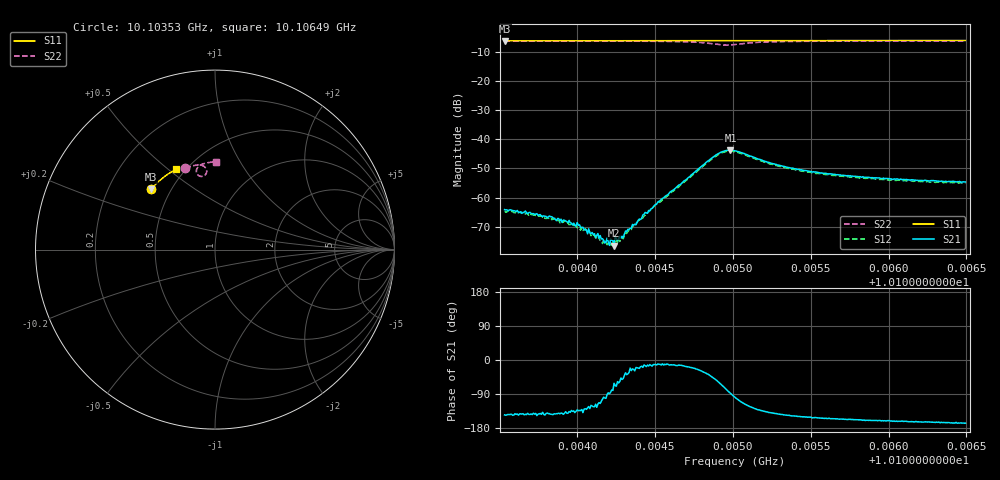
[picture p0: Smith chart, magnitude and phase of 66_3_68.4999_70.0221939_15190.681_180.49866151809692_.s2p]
#  HZ  S  RI  R  50.00
! Rohde & Schwarz Vector Network Analyzer
! Rohde-Schwarz,ZNB20-2Port,1311601062101988,3.16
! Created: UTC 3/20/2024, 4:51:33 PM
! freq[Hz]  re:S11  im:S11  re:S21  im:S21  re:S12  im:S12  re:S22  im:S22
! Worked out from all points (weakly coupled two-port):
!   401 points, 10.10353 GHz to 10.10649 GHz, reference 50 ohm
!   highest |S21| = -43.75 dB at 10.10498 GHz (marker M1); lowest = -76.5 dB at 10.10424 GHz (marker M2)
!   lowest |S11| = -6.2 dB at 10.10353 GHz (marker M3), VSWR 2.92, Z = 19.4 + j17.1 ohm
!   |S11| at or under -10 dB: nowhere
!   |S22| runs from -7.7 to -6.2 dB; largest |S21 - S12| = 0.00065
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1.0103534e10  -0.3574 0.3349  -0.000507 -0.000357  -0.000433 -0.00039  -0.1652 0.4532
1.0103638e10  -0.3534 0.3399  -0.000448 -0.000351  -0.000404 -0.000363  -0.1586 0.4558
1.0103867e10  -0.344 0.3503  -0.000314 -0.000249  -0.0003 -0.000288  -0.1434 0.4612
1.010403e10  -0.3371 0.3574  -0.000197 -0.000229  -0.000191 -0.000245  -0.1319 0.4649
1.0104067e10  -0.3354 0.3591  -0.000141 -0.000192  -0.000138 -0.000224  -0.1292 0.4655
1.0104148e10  -0.332 0.3625  -9.24e-05 -0.000202  -5.14e-05 -0.000176  -0.1232 0.4672
1.0104193e10  -0.3301 0.3645  -1.93e-06 -0.000201  -1.56e-05 -0.000154  -0.1198 0.4679
1.0104208e10  -0.3294 0.3651  2.73e-06 -0.000151  1.26e-05 -0.00015  -0.1186 0.4682
1.0104222e10  -0.3287 0.3657  3.51e-05 -0.000182  4.04e-05 -0.00014  -0.1175 0.4685
1.0104237e10  -0.3282 0.3664  7.11e-05 -0.000131  7.49e-05 -0.000162  -0.1162 0.4687
1.0104289e10  -0.326 0.3686  0.000135 -0.000169  0.000161 -0.000126  -0.112 0.4696
1.0104393e10  -0.3215 0.3729  0.000379 -0.000147  0.000388 -0.000103  -0.103 0.4711
1.010443e10  -0.3198 0.3744  0.000504 -0.000116  0.000469 -0.000111  -0.0996 0.4715
1.0104526e10  -0.3153 0.3784  0.000844 -0.000171  0.000821 -0.000109  -0.0898 0.4718
1.0104881e10  -0.2988 0.3923  0.00336 -0.00386  0.00355 -0.00337  -0.0471 0.4299
1.0104933e10  -0.2965 0.3944  0.00236 -0.00566  0.00272 -0.00523  -0.059 0.4122
1.0104984e10  -0.2941 0.3959  0.000263 -0.00649  0.000761 -0.0062  -0.0815 0.4081
1.0105014e10  -0.2928 0.3972  -0.000967 -0.00625  -0.000357 -0.00609  -0.0926 0.4134
1.0105295e10  -0.2796 0.4079  -0.00286 -0.00217  -0.00255 -0.00232  -0.0876 0.4668
1.010551e10  -0.269 0.4156  -0.00243 -0.00126  -0.00222 -0.00145  -0.0677 0.4773
1.0106005e10  -0.244 0.4322  -0.00198 -0.000709  -0.0018 -0.000826  -0.0296 0.486
1.0106493e10  -0.2183 0.447  -0.0018 -0.000424  -0.00164 -0.000584  0.004 0.4889
